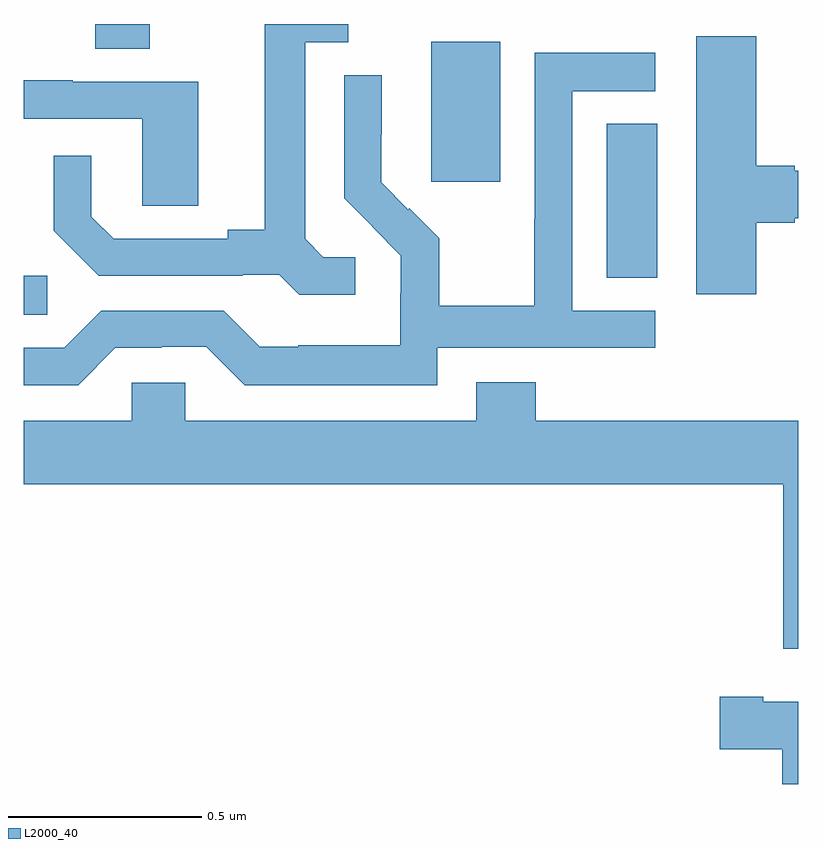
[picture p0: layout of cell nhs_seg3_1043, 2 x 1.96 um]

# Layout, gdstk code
import gdstk
lib = gdstk.Library(unit=1e-6, precision=1e-09)
def R(c, l, rs):  # rectangles x0, y0, x1, y1
    for r in rs: c.add(gdstk.rectangle(r[:2], r[2:], *l))
def P(c, l, *ps):  # polygons
    for p in ps: c.add(gdstk.Polygon(p, *l))
L2000_40 = (2000, 40)

nhs_seg3_1043 = lib.new_cell('nhs_seg3_1043')
R(nhs_seg3_1043, L2000_40, [(123,738.649,123.061,738.75), (124.505,738.745,124.636,739.142), (124.052,738.993,124.231,739.354), (123.185,739.336,123.325,739.4)])
P(nhs_seg3_1043, L2000_40, [(123.856,738.798),(123.774,738.798),(123.727,738.845),(123.727,739.353),(123.838,739.353),(123.838,739.4),(123.623,739.4),(123.623,738.869),(123.527,738.869),(123.527,738.846),(123.232,738.846),(123.175,738.903),(123.175,739.06),(123.078,739.06),(123.078,738.866),(123.194,738.75),(123.566,738.75),(123.566,738.753),(123.66,738.753),(123.712,738.701),(123.856,738.701)],
  [(124.891,738.887),(124.991,738.887),(124.991,738.899),(125,738.899),(125,739.021),(124.991,739.021),(124.991,739.034),(124.891,739.034),(124.891,739.369),(124.736,739.369),(124.736,738.702),(124.891,738.702)],
  [(124.068,738.564),(124.63,738.564),(124.63,738.66),(124.416,738.66),(124.416,739.227),(124.63,739.227),(124.63,739.326),(124.32,739.326),(124.32,738.896),(124.318,738.896),(124.318,738.673),(124.073,738.673),(124.073,738.847),(123.996,738.924),(123.993,738.921),(123.923,738.992),(123.923,739.114),(123.924,739.114),(123.924,739.268),(123.828,739.268),(123.828,738.95),(123.901,738.877),(123.9,738.876),(123.974,738.802),(123.974,738.705),(123.972,738.705),(123.972,738.571),(123.709,738.571),(123.709,738.567),(123.609,738.567),(123.516,738.66),(123.201,738.66),(123.105,738.564),(123,738.564),(123,738.468),(123.141,738.468),(123.237,738.564),(123.356,738.564),(123.356,738.567),(123.471,738.567),(123.571,738.467),(124.068,738.467)],
  [(123.451,739.251),(123.127,739.251),(123.127,739.255),(123,739.255),(123,739.155),(123.306,739.155),(123.306,738.931),(123.451,738.931)],
  [(124.961,737.787),(125,737.787),(125,738.376),(124.322,738.376),(124.322,738.475),(124.169,738.475),(124.169,738.376),(123.417,738.376),(123.417,738.474),(123.279,738.474),(123.279,738.376),(123,738.376),(123,738.212),(124.961,738.212)],
  [(125,737.65),(124.909,737.65),(124.909,737.663),(124.797,737.663),(124.797,737.528),(124.958,737.528),(124.958,737.438),(125,737.438)])

lib.write_gds('nhs_seg3_1043.gds')
